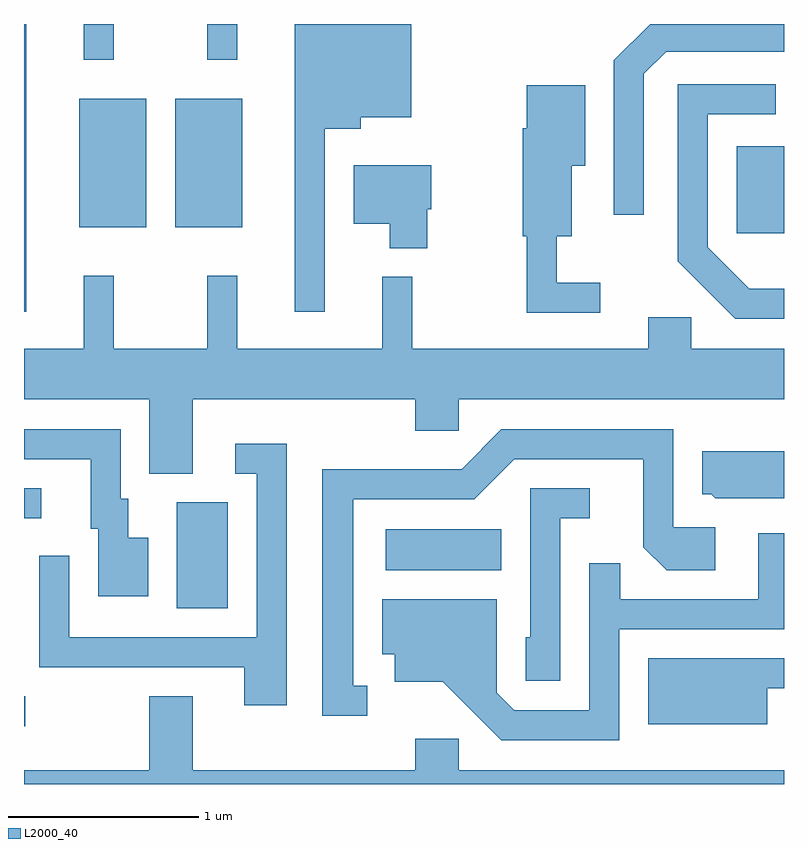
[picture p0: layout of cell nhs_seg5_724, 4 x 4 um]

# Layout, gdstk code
import gdstk
lib = gdstk.Library(unit=1e-6, precision=1e-09)
def R(c, l, rs):  # rectangles x0, y0, x1, y1
    for r in rs: c.add(gdstk.rectangle(r[:2], r[2:], *l))
def P(c, l, *ps):  # polygons
    for p in ps: c.add(gdstk.Polygon(p, *l))
L2000_40 = (2000, 40)

nhs_seg5_724 = lib.new_cell('nhs_seg5_724')
R(nhs_seg5_724, L2000_40, [(205.611,1488.376,205.618,1488.534), (206.416,1488.996,206.684,1489.554), (207.516,1489.196,208.124,1489.414), (205.611,1489.471,205.703,1489.629), (205.611,1490.558,205.624,1492.072), (209.361,1490.971,209.611,1491.429), (205.901,1491.001,206.254,1491.679), (206.406,1491.001,206.759,1491.679), (205.926,1491.883,206.084,1492.072), (206.576,1491.883,206.734,1492.072)])
P(nhs_seg5_724, L2000_40, [(208.874,1491.809),(208.992,1491.926),(209.611,1491.926),(209.611,1492.072),(208.907,1492.072),(208.716,1491.882),(208.716,1491.068),(208.874,1491.068)],
  [(207.194,1491.521),(207.384,1491.521),(207.384,1491.581),(207.649,1491.581),(207.649,1492.072),(207.036,1492.072),(207.036,1490.558),(207.194,1490.558)],
  [(209.611,1490.679),(209.427,1490.679),(209.209,1490.897),(209.209,1491.596),(209.568,1491.596),(209.568,1491.754),(209.051,1491.754),(209.051,1490.824),(209.354,1490.521),(209.611,1490.521)],
  [(208.643,1490.709),(208.414,1490.709),(208.414,1490.956),(208.494,1490.956),(208.494,1491.326),(208.564,1491.326),(208.564,1491.749),(208.256,1491.749),(208.256,1491.524),(208.236,1491.524),(208.236,1490.956),(208.256,1490.956),(208.256,1490.551),(208.643,1490.551)],
  [(207.734,1491.096),(207.754,1491.096),(207.754,1491.329),(207.346,1491.329),(207.346,1491.021),(207.536,1491.021),(207.536,1490.891),(207.734,1490.891)],
  [(206.499,1490.096),(207.671,1490.096),(207.671,1489.931),(207.899,1489.931),(207.899,1490.096),(209.611,1490.096),(209.611,1490.364),(209.124,1490.364),(209.124,1490.529),(208.896,1490.529),(208.896,1490.364),(207.654,1490.364),(207.654,1490.743),(207.496,1490.743),(207.496,1490.364),(206.734,1490.364),(206.734,1490.748),(206.576,1490.748),(206.576,1490.364),(206.084,1490.364),(206.084,1490.748),(205.926,1490.748),(205.926,1490.364),(205.611,1490.364),(205.611,1490.096),(206.271,1490.096),(206.271,1489.706),(206.499,1489.706)],
  [(206.264,1489.369),(206.159,1489.369),(206.159,1489.574),(206.119,1489.574),(206.119,1489.939),(205.611,1489.939),(205.611,1489.781),(205.961,1489.781),(205.961,1489.416),(206.001,1489.416),(206.001,1489.061),(206.264,1489.061)],
  [(207.418,1488.589),(207.344,1488.589),(207.344,1489.571),(207.982,1489.571),(208.192,1489.781),(208.871,1489.781),(208.871,1489.319),(208.994,1489.196),(209.249,1489.196),(209.249,1489.424),(209.029,1489.424),(209.029,1489.939),(208.124,1489.939),(207.914,1489.729),(207.181,1489.729),(207.181,1488.431),(207.418,1488.431)],
  [(206.994,1489.864),(206.723,1489.864),(206.723,1489.706),(206.836,1489.706),(206.836,1488.844),(205.849,1488.844),(205.849,1489.273),(205.691,1489.273),(205.691,1488.686),(206.771,1488.686),(206.771,1488.486),(206.994,1488.486)],
  [(209.611,1489.824),(209.181,1489.824),(209.181,1489.596),(209.229,1489.596),(209.249,1489.576),(209.611,1489.576)],
  [(208.434,1489.471),(208.588,1489.471),(208.588,1489.629),(208.276,1489.629),(208.276,1488.844),(208.251,1488.844),(208.251,1488.616),(208.434,1488.616)],
  [(208.744,1488.886),(209.611,1488.886),(209.611,1489.393),(209.476,1489.393),(209.476,1489.044),(208.749,1489.044),(208.749,1489.233),(208.586,1489.233),(208.586,1488.459),(208.192,1488.459),(208.099,1488.552),(208.099,1489.044),(207.496,1489.044),(207.496,1488.756),(207.561,1488.756),(207.561,1488.611),(207.814,1488.611),(208.124,1488.301),(208.744,1488.301)],
  [(209.524,1488.576),(209.611,1488.576),(209.611,1488.734),(208.896,1488.734),(208.896,1488.386),(209.524,1488.386)],
  [(209.611,1488.144),(207.899,1488.144),(207.899,1488.309),(207.671,1488.309),(207.671,1488.144),(206.499,1488.144),(206.499,1488.534),(206.271,1488.534),(206.271,1488.144),(205.611,1488.144),(205.611,1488.072),(209.611,1488.072)])

lib.write_gds('nhs_seg5_724.gds')
